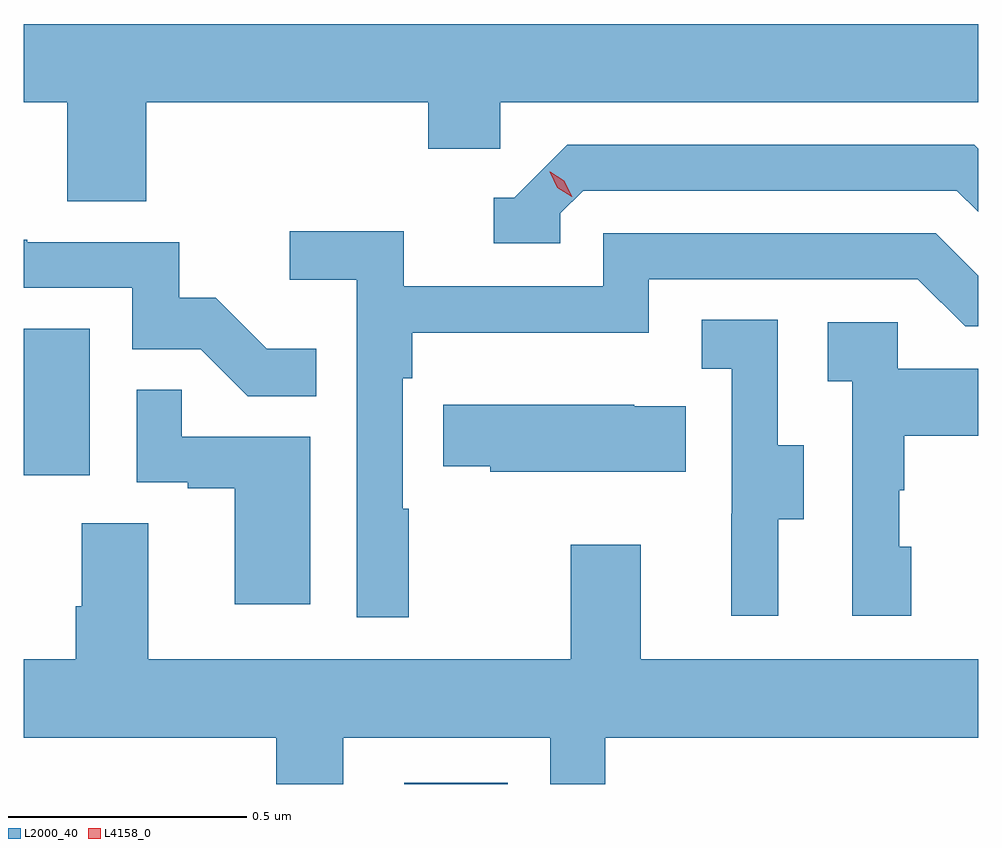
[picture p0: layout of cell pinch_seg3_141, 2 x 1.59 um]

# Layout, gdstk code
import gdstk
lib = gdstk.Library(unit=1e-6, precision=1e-09)
def R(c, l, rs):  # rectangles x0, y0, x1, y1
    for r in rs: c.add(gdstk.rectangle(r[:2], r[2:], *l))
def P(c, l, *ps):  # polygons
    for p in ps: c.add(gdstk.Polygon(p, *l))
L2000_40 = (2000, 40)
L4158_0 = (4158, 0)

pinch_seg3_141 = lib.new_cell('pinch_seg3_141')
R(pinch_seg3_141, L2000_40, [(1118.301,718.135,1118.518,718.138), (1117.504,718.782,1117.642,719.089)])
P(pinch_seg3_141, L2000_40, [(1117.76,719.564),(1118.351,719.564),(1118.351,719.466),(1118.502,719.466),(1118.502,719.564),(1119.504,719.564),(1119.504,719.728),(1117.504,719.728),(1117.504,719.564),(1117.595,719.564),(1117.595,719.356),(1117.76,719.356)],
  [(1118.628,719.331),(1118.676,719.379),(1119.459,719.379),(1119.504,719.334),(1119.504,719.467),(1119.496,719.475),(1118.643,719.475),(1118.532,719.364),(1118.489,719.364),(1118.489,719.268),(1118.628,719.268)],
  [(1118.311,718.712),(1118.298,718.712),(1118.298,718.985),(1118.318,718.985),(1118.318,719.081),(1118.814,719.081),(1118.814,719.193),(1119.378,719.193),(1119.477,719.094),(1119.504,719.094),(1119.504,719.2),(1119.415,719.289),(1118.718,719.289),(1118.718,719.178),(1118.3,719.178),(1118.3,719.294),(1118.061,719.294),(1118.061,719.192),(1118.202,719.192),(1118.202,718.485),(1118.311,718.485)],
  [(1118.117,719.047),(1118.013,719.047),(1117.906,719.154),(1117.83,719.154),(1117.83,719.271),(1117.511,719.271),(1117.511,719.276),(1117.504,719.276),(1117.504,719.175),(1117.731,719.175),(1117.731,719.046),(1117.875,719.046),(1117.973,718.948),(1118.117,718.948)],
  [(1119.085,718.69),(1119.139,718.69),(1119.139,718.845),(1119.084,718.845),(1119.084,719.108),(1118.925,719.108),(1118.925,719.005),(1118.988,719.005),(1118.988,718.701),(1118.987,718.701),(1118.987,718.488),(1119.085,718.488)],
  [(1119.364,718.632),(1119.339,718.632),(1119.339,718.751),(1119.349,718.751),(1119.349,718.865),(1119.504,718.865),(1119.504,719.005),(1119.336,719.005),(1119.336,719.103),(1119.189,719.103),(1119.189,718.979),(1119.24,718.979),(1119.24,718.488),(1119.364,718.488)],
  [(1118.104,718.863),(1117.835,718.863),(1117.835,718.961),(1117.74,718.961),(1117.74,718.767),(1117.847,718.767),(1117.847,718.755),(1117.946,718.755),(1117.946,718.512),(1118.104,718.512)],
  [(1118.891,718.927),(1118.783,718.927),(1118.783,718.93),(1118.383,718.93),(1118.383,718.801),(1118.481,718.801),(1118.481,718.79),(1118.891,718.79)],
  [(1118.173,718.232),(1118.607,718.232),(1118.607,718.135),(1118.723,718.135),(1118.723,718.232),(1119.504,718.232),(1119.504,718.396),(1118.797,718.396),(1118.797,718.636),(1118.65,718.636),(1118.65,718.396),(1117.765,718.396),(1117.765,718.682),(1117.625,718.682),(1117.625,718.508),(1117.613,718.508),(1117.613,718.396),(1117.504,718.396),(1117.504,718.232),(1118.033,718.232),(1118.033,718.135),(1118.173,718.135)])
P(pinch_seg3_141, L4158_0, [(1118.652,719.366),(1118.622,719.385),(1118.606,719.418),(1118.606,719.418),(1118.607,719.418),(1118.637,719.399),(1118.653,719.366),(1118.653,719.366)])

lib.write_gds('pinch_seg3_141.gds')
